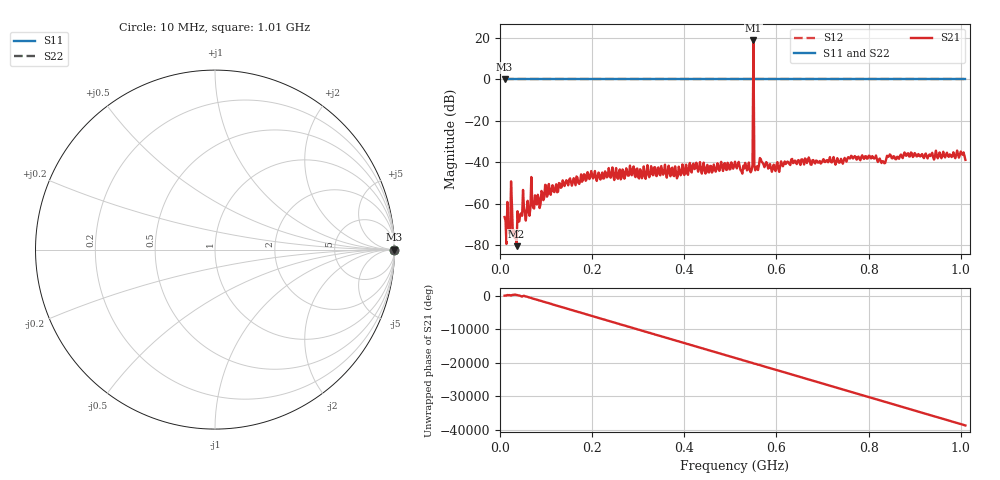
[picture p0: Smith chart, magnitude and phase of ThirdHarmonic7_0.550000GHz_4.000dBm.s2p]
! 8/17/2025 4:41:29 PM
! C:\ANRITSUVNA\TEMP\TEMP.S2P
! CHANNEL.1
! TR.MEASUREMENT
! RAW.DATA
! RF.CORRECTION.OFF
! AVERAGING.OFF
! IF.BANDWIDTH: 5KHZ
! SWEEPTYPE:  FREQ.SWEEP(Linear)
! Reference Plane Port Info
! PORT:  PORT1  PORT2
! DISTANCE:  0  m  0  m
! TIME:  0  s  0  s
! PHASE.OFFSET:  0  deg.  0  deg.
! LOSS:  0  dB  0  dB
! REF.LOSS:  0  dB  0  dB
! REF.FREQ:  0  Hz  0  Hz
! Power Info
! POWER:  -20  dBm  -20  dBm
! EFF.POWER:  -20  dBm  -20  dBm
! SOURCE.ATTEN:  0  dB  0  dB
! TEST.ATTEN:  0  dB  0  dB
# GHZ S RI R 50.0
! FREQ.GHZ  S11RE  S11IM  S21RE  S21IM  S12RE  S12IM  S22RE  S22IM
!; PortSelection: Port_12
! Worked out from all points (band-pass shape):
!   501 points, 10 MHz to 1.01 GHz, reference 50 ohm
!   highest |S21| = 18.69 dB at 550 MHz (marker M1); lowest = -80.6 dB at 36 MHz (marker M2)
!   |S21| within 3 dB of the highest: 549.9001 MHz to 550.0991 MHz (199 kHz wide, 0.0362 % of centre)
!   lowest |S11| = 0.0 dB at 10 MHz (marker M3)
!   |S11| at or under -10 dB: nowhere
!   |S22| runs from 0.0 to 0.0 dB; largest |S21 - S12| = 7.6
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0.01  1 0  0.000395 -0.000258  1 0  1 0
0.018  1 0  -4.6e-05 0.000187  1 0  1 0
0.02  1 0  -0.000214 0.000151  1 0  1 0
0.024  1 0  0.00319 -0.00122  1 0  1 0
0.028  1 0  -0.000127 -0.000128  1 0  1 0
0.032  1 0  6.58e-05 -0.000131  1 0  1 0
0.036  1 0  -9.31e-05 7.9e-06  1 0  1 0
0.048  1 0  0.00036 0.000357  1 0  1 0
0.06  1 0  0.000985 -0.000616  1 0  1 0
0.072  1 0  -0.000686 0.000398  1 0  1 0
0.076  1 0  0.00156 -0.000264  1 0  1 0
0.178  1 0  -0.00321 -0.000972  1 0  1 0
0.344  1 0  0.00726 -0.00149  1 0  1 0
0.51  1 0  -0.00993 -0.00236  1 0  1 0
0.544  1 0  -0.000702 -0.00562  1 0  1 0
0.546  1 0  -0.00613 -0.00149  1 0  1 0
0.55  1 0  8.586 0.5593  1 0  1 0
0.554  1 0  -0.00356 -0.00523  1 0  1 0
0.556  1 0  -0.00733 0.00197  1 0  1 0
0.678  1 0  0.00557 -0.00955  1 0  1 0
0.844  1 0  -0.00605 0.0123  1 0  1 0
1.01  1 0  -0.000216 -0.0113  1 0  1 0
